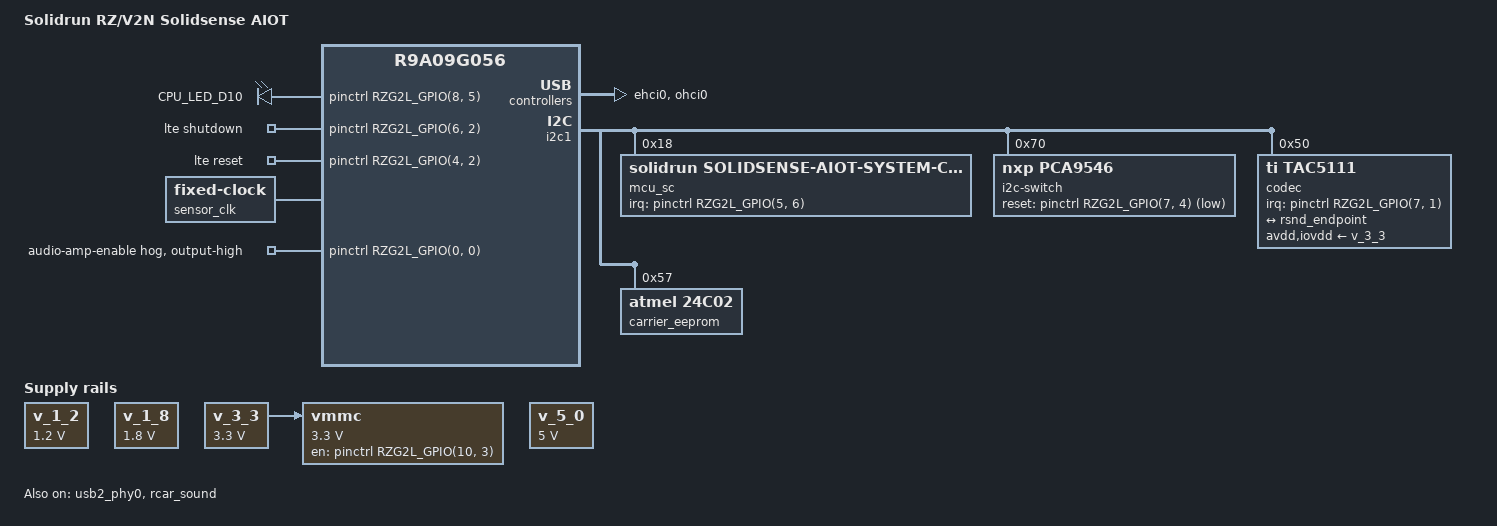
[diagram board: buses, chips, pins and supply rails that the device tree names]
// SPDX-License-Identifier: (GPL-2.0-only OR BSD-2-Clause)
/*
 * Device Tree Source for the RZ/V2N SolidRun Solidsense AIOT
 *
 * Copyright (C) 2025 SolidRun Ltd.
 */

/dts-v1/;

#include "rzv2n-sr-som.dtsi"
#include <dt-bindings/leds/common.h>

/ {
	model = "Solidrun RZ/V2N Solidsense AIOT";
	compatible = "solidrun,rzv2n-solidsense-aiot", "solidrun,rzv2n-sr-som",
		     "renesas,r9a09g056n48", "renesas,r9a09g056";

	aliases {
		i2c3 = &i2c_csi0;
		i2c4 = &i2c_csi1;
		rtc0 = &mcu_sc;
		rtc1 = &pmic_rtc;
	};

	leds {
		compatible = "gpio-leds";

		CPU_LED_D10 {
			label = "CPU_LED_D10";
			gpios = <&pinctrl RZG2L_GPIO(8, 5) GPIO_ACTIVE_HIGH>;
			default-state = "on";
		};
	};
	
	v_1_2: regulator-1-2 {
		compatible = "regulator-fixed";
		regulator-name = "1v2";
		regulator-min-microvolt = <1200000>;
		regulator-max-microvolt = <1200000>;
	};

	/* 1.8V carrier rail; &v_1_8 is referenced by the Flash Card overlay. */
	v_1_8: regulator-1-8 {
		compatible = "regulator-fixed";
		regulator-name = "1v8";
		regulator-min-microvolt = <1800000>;
		regulator-max-microvolt = <1800000>;
	};

	v_3_3: regulator-3-3 {
		compatible = "regulator-fixed";
		regulator-name = "3v3";
		regulator-min-microvolt = <3300000>;
		regulator-max-microvolt = <3300000>;
	};

	v_5_0: regulator-5-0 {
		compatible = "regulator-fixed";
		regulator-name = "5v0";
		regulator-min-microvolt = <5000000>;
		regulator-max-microvolt = <5000000>;
	};

	vmmc: regulator-mmc {
		compatible = "regulator-fixed";
		regulator-name = "vmmc";
		vin-supply = <&v_3_3>;
		regulator-min-microvolt = <3300000>;
		regulator-max-microvolt = <3300000>;
		gpios = <&pinctrl RZG2L_GPIO(10, 3) GPIO_ACTIVE_HIGH>;
		enable-active-high;
		regulator-always-on;
	};

	/*
	 * LTE modem (Sequans GC02S1) power/reset via rfkill-gpio. Needs the
	 * of_match_table backport in net/rfkill/rfkill-gpio.c (mainline 6.1 is
	 * ACPI-only). Mutually exclusive with the gpio-hog fallback below.
	 *   shutdown-gpios = P62 (CELL_VBAT enable): unblocked -> HIGH -> powered.
	 *   reset-gpios    = P42 (RESETN, active-low): driver drives logic-1 when
	 *                    unblocked, so declared ACTIVE_HIGH -> out of reset.
	 */
	rfkill_lte: rfkill-lte {
		compatible = "rfkill-gpio";
		label = "lte";
		radio-type = "wwan";
		shutdown-gpios = <&pinctrl RZG2L_GPIO(6, 2) GPIO_ACTIVE_HIGH>;
		reset-gpios = <&pinctrl RZG2L_GPIO(4, 2) GPIO_ACTIVE_HIGH>;
		status = "okay";
	};

	sensor_clk: sensor_clk {
        compatible = "fixed-clock";
        #clock-cells = <0>;
        clock-frequency = <24000000>;
    };

	sound_card: sound {
		compatible = "audio-graph-card";
		label = "solidsense-aiot";
		dais = <&rsnd_port>;
	};
};

/*
 * Fallback: LTE power/reset via gpio-hogs for the stock (ACPI-only)
 * rfkill-gpio driver. Disabled - the rfkill_lte node owns P42/P62. To use,
 * enable here (#if 1) and disable the rfkill_lte node; don't claim twice.
 */
&pinctrl {
	pinctrl-names = "default";

	/* Audio (TAC5111 -> PAM8302 -> speaker), routed like the RZ/V2N EVK. */
	sound_clk_pins: sound-clk {
		pinmux = <RZG2L_PORT_PINMUX(1, 0, 7)>, /* AUDIO_CLKB   */
			 <RZG2L_PORT_PINMUX(1, 1, 7)>, /* AUDIO_CLKC   */
			 <RZG2L_PORT_PINMUX(9, 7, 8)>; /* AUDIO_CLKOUT */
	};

	ssi3_ssi4_pins: ssi34 {
		pinmux = <RZG2L_PORT_PINMUX(1, 2, 7)>, /* SSI3_SCK         */
			 <RZG2L_PORT_PINMUX(1, 3, 7)>, /* SSI3_WS          */
			 <RZG2L_PORT_PINMUX(0, 4, 7)>, /* SSI3_SDATA (out) */
			 <RZG2L_PORT_PINMUX(1, 5, 7)>; /* SSI4_SDATA (in)  */
	};

	/* PAM8302 /SD on P0_0 has a 10k pull-down; hog high to enable the amp. */
	audio_amp_en_hog: audio-amp-enable-hog {
		gpio-hog;
		gpios = <RZG2L_GPIO(0, 0) GPIO_ACTIVE_HIGH>;
		output-high;
		line-name = "audio-amp-enable";
	};

#if 0
	lte_rst_hog: lte-reset-hog {
		gpio-hog;
		/* LTE_RST: J7[43] — pin P42; active-low + output-low => physical HIGH => out of reset */
		gpios = <RZG2L_GPIO(4, 2) GPIO_ACTIVE_LOW>;
		output-low;
		line-name = "lte-reset";
	};

	lte_pwr_hog: lte-power-hog {
		gpio-hog;
		/* LTE_PWR / CELL_VBAT enable: J7[14] — pin P62 => HIGH => modem powered */
		gpios = <RZG2L_GPIO(6, 2) GPIO_ACTIVE_HIGH>;
		output-high;
		line-name = "lte-power";
	};
#endif

	mcu_irq_pin: mcu-irq {
		pins = "P56";
		bias-pull-up;
	};
};

/*
 * USB2 on a 3-wire header (D+/D-/GND), host-only (disk adapter).
 * For OTG: set dr_mode="otg" on ehci0/ohci0 + enable hsusb (see EVK).
 */
&ehci0 {
	spurious-oc;
	status = "okay";
};

&ohci0 {
	spurious-oc;
	status = "okay";
};

&usb2_phy0 {
	/* Needed only in OTG mode (PHY requests "vbus" exclusively); harmless for host. */
	//vbus-supply = <&v_5_0>;
	status = "okay";
};

&eth0 {
	status = "disabled";
};

&eth1 {
	status = "disabled";
};

/* UARTA (UART2) */
&sci2 {
	status = "disabled";
};

/* UARTB (UART3) */
&sci3 {
	status = "disabled";
};

&pcie0 {
	status = "disabled";
};

/* Carrier I2C2 */
&i2c1 {
	status = "okay";

	/*
	 * I2C devices on carrier board:
	 * - STM32U031C8U6 MCU at 0x18
	 * - TAC5111IRGER Audio Codec at 0x50
	 * - TCA9546APWR I2C Switch at 0x70
	 * Flash Card (J6):
	 * - LM3645YCGR Camera Flash at 0x65
	 * - OPT4001DTSR Ambient Light Sensor at 0x44
	 * - HDC3022DEJR Humidity/Temperature sensor at 0x46
	 */
	mcu_sc: system-controller@18 {
		compatible = "solidrun,solidsense-aiot-system-controller";
		reg = <0x18>;
		pinctrl-names = "default";
		pinctrl-0 = <&mcu_irq_pin>;
		interrupts-extended = <&pinctrl RZG2L_GPIO(5, 6) IRQ_TYPE_LEVEL_LOW>;
		system-power-controller;
	};

	i2c-switch@70 {
		compatible = "nxp,pca9546";
		reg = <0x70>;
		#address-cells = <1>;
		#size-cells = <0>;
		reset-gpios = <&pinctrl RZG2L_GPIO(7, 4) GPIO_ACTIVE_LOW>;

		i2c_csi0: i2c@0 {
			#address-cells = <1>;
			#size-cells = <0>;
			reg = <0>;
		};

		i2c_csi1: i2c@1 {
			#address-cells = <1>;
			#size-cells = <0>;
			reg = <1>;
		};
	};

	/*
	 * TAC5111 codec, playback-only (OUT1 -> PAM8302). Clock consumer:
	 * CCLK arrives on GPI1 from the SoC AUDIO_CLKOUT.
	 */
	codec: audio-codec@50 {
		compatible = "ti,tac5111";
		reg = <0x50>;
		status = "okay";
		
		#sound-dai-cells = <0>;
		
		pinctrl-names = "default";
		//pinctrl-0 = <&pinctrl_codec>;
		
		interrupts-extended = <&pinctrl RZG2L_GPIO(7, 1) IRQ_TYPE_EDGE_FALLING>;
		
		avdd-supply = <&v_3_3>;
		iovdd-supply = <&v_3_3>;

		/*
		 * GPIO configuration:
		 * - GPIO1: PDM data input
		 * - GPIO2: PDM clock output
		 * - GPO1:  Chip IRQ output
		 */
		ti,gpios-func = <1>, <4>, <3>;

		/*
		 * PDM input pin selection:
		 * - Channels 0/1: GPIO1
		 * - Channels 2/3: Not used
		 */
		ti,pdm-input-pins = <1>, <0>;

		/* GPI1 configured as CCLK input */
		ti,gpi1-func = <2>;

		/*
		 * VREF and MICBIAS configuration (required by driver)
		 * Note: These are not used by this board but must be
		 * configured to avoid probe errors
		 */
		ti,vref = <0>;
		ti,micbias-vg = <3>;

		/*
		 * GPIO drive configuration:
		 * - GPIO1: Floating (output buffer disabled)
		 * - GPIO2: Push-pull for PDM clock
		 * - GPO1:  Open-drain for IRQ
		 */
		ti,gpios-drive = <0>, <1>, <3>;

		/* GPA configuration */
		ti,gpa-gpio = <0>;
		ti,gpa-threshold = <75>, <186>;

		/* Digital audio link to the SoC SSI3/SSI4 (see &rcar_sound) */
		port {
			tac5111_endpoint: endpoint {
				remote-endpoint = <&rsnd_endpoint>;
			};
		};
	};

	carrier_eeprom: at24c02@57 {
		compatible = "atmel,24c02";
		reg = <0x57>;
	};
};

/*
 * Sound block: SSI3 playback, SSI4 capture (shares SSI3 SCK/WS). SoC is
 * bit-clock/frame master; AUDIO_CLKOUT clocks the codec. Mirrors the EVK.
 */
&rcar_sound {
	pinctrl-0 = <&sound_clk_pins>, <&ssi3_ssi4_pins>;
	pinctrl-names = "default";

	status = "okay";

	/* audio_clkout */
	#clock-cells = <0>;
	clock-frequency = <11289600>;

	#sound-dai-cells = <1>;

	ports {
		#address-cells = <1>;
		#size-cells = <0>;

		rsnd_port: port@0 {
			reg = <0>;
			rsnd_endpoint: endpoint {
				remote-endpoint = <&tac5111_endpoint>;

				dai-format = "i2s";
				bitclock-master = <&rsnd_endpoint>;
				frame-master = <&rsnd_endpoint>;
				mclk-fs = <256>;

				playback = <&ssi3>, <&src0>, <&dvc0>;
				capture = <&ssi4>, <&src1>, <&dvc1>;
			};
		};
	};
};

/*
 * On-SoM versa3 audio master clocks (22.5792 MHz = 44.1k, 24.576 MHz = 48k).
 * The SoC dtsi leaves these at 0 Hz; the board must set them or the SSI
 * CLK_ON poll times out (-110) and playback/capture fail.
 */
&audio_clka {
	clock-frequency = <22579200>;
};

&audio_clkb {
	clock-frequency = <24576000>;
};

&audio_clkc {
	clock-frequency = <22579200>;
};
